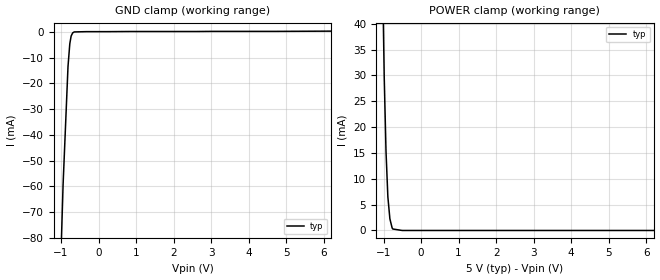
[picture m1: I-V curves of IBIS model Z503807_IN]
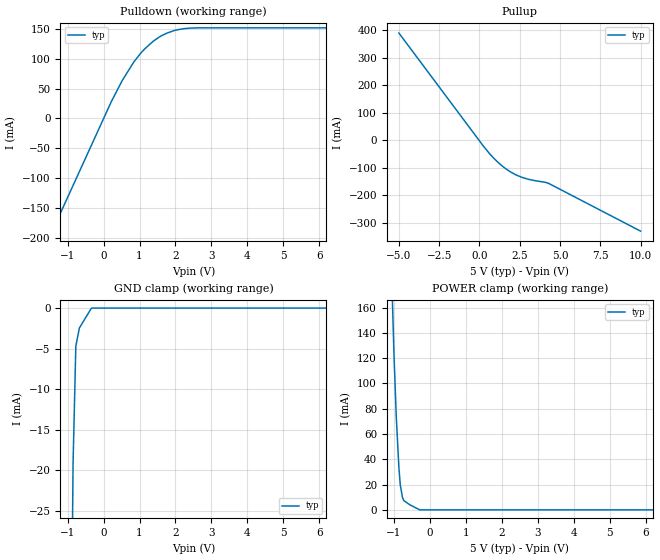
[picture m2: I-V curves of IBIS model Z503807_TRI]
| YOU ARE ONLY AUTHORIZED TO USE THIS SOFTWARE
| ACCORDING TO LICENSOR'S LICENSE RESTRICTIONS.
[IBIS Ver] 3.1
[File Name] mc74ac574n_5.ibs
[File Rev] 2.0
[Source] Measured and created by ICX Technology
[Date] Friday 7/14/00 9:08:00 AM
[Copyright]
| (C) COPYRIGHT 1993-2000
| MENTOR GRAPHICS CORPORATION
| ICX STANDARD LIBRARY, ICX PROJECT MODELING,
| ICX CUSTOM MODELING, ICX VENDOR MODEL
| ALL RIGHTS RESERVED.
| THE FOLLOWING ARE TRADEMARKS OR SERVICE MARKS OF
| MENTOR GRAPHICS CORPORATION:ICX (R), ICX STANDARD
| LIBRARY(R), ICX PROJECT MODELING(R), ICX CUSTOM
| MODELING(R), qualityIBIS(TM), MODELVIEWER(TM),
| AND MODELEDITOR(TM)
| ALL COPIES OF SOFTWARE, INCLUDING BUT NOT LIMITED TO
| ANY MODIFICATIONS, ENHANCEMENTS OR DERIVATIVE WORKS,
| MUST CONTAIN ALL MENTOR GRAPHICS CORPORATION'S
| NOTICES AND LEGENDS, INCLUDING THOSE EMBEDDED IN
| SOFTWARE AND THOSE AFFIXED TO SOFTWARE MEDIUM
| AND CONTAINER, AS RECEIVED FROM MENTOR GRAPHICS
| CORPORATION.
|  ZAP Model Builder 2.7
[Component] MC74AC574N_5
[Manufacturer] OnSemiconductor
[Package]
| variable   typ   min   max
R_pkg  .216ohms NA NA
L_pkg  5.76nH NA NA
C_pkg  1.29pF NA NA
[Pin] signal_name  model_name  R_pin  L_pin C_pin
1 _EN Z503807_IN .232 9.76n 1.87p
2 D0 Z503807_IN .224 7.26n 1.58p
3 D1 Z503807_IN .216 5.26n 1.29p
4 D2 Z503807_IN .208 3.76n 1.0p
5 D3 Z503807_IN .2 2.76n .71p
6 D4 Z503807_IN .2 2.76n .71p
7 D5 Z503807_IN .208 3.76n 1.0p
8 D6 Z503807_IN .216 5.26n 1.29p
9 D7 Z503807_IN .224 7.26n 1.58p
10 GND GND .232 9.76n 1.87p
11 CLK Z503807_IN .232 9.76n 1.87p
12 Q7 Z503807_TRI .224 7.26n 1.58p
13 Q6 Z503807_TRI .216 5.26n 1.29p
14 Q5 Z503807_TRI .208 3.76n 1.0p
15 Q4 Z503807_TRI .2 2.76n .71p
16 Q3 Z503807_TRI .2 2.76n .71p
17 Q2 Z503807_TRI .208 3.76n 1.0p
18 Q1 Z503807_TRI .216 5.26n 1.29p
19 Q0 Z503807_TRI .224 7.26n 1.58p
20 VCC POWER .232 9.76n 1.87p
| Models and submodels in the file (2): Z503807_IN (Input), Z503807_TRI (3-state)
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| (C) COPYRIGHT 1993-2000
| MENTOR GRAPHICS CORPORATION
| ICX STANDARD LIBRARY, ICX PROJECT MODELING,
| ICX CUSTOM MODELING, ICX VENDOR MODEL
| ALL RIGHTS RESERVED.
| THE FOLLOWING ARE TRADEMARKS OR SERVICE MARKS OF
| MENTOR GRAPHICS CORPORATION:ICX (R), ICX STANDARD
| LIBRARY(R), ICX PROJECT MODELING(R), ICX CUSTOM
| MODELING(R), qualityIBIS(TM), MODELVIEWER(TM),
| AND MODELEDITOR(TM)
| ALL COPIES OF SOFTWARE, INCLUDING BUT NOT LIMITED TO
| ANY MODIFICATIONS, ENHANCEMENTS OR DERIVATIVE WORKS,
| MUST CONTAIN ALL MENTOR GRAPHICS CORPORATION'S
| NOTICES AND LEGENDS, INCLUDING THOSE EMBEDDED IN
| SOFTWARE AND THOSE AFFIXED TO SOFTWARE MEDIUM
| AND CONTAINER, AS RECEIVED FROM MENTOR GRAPHICS
| CORPORATION.
| Model Application Version 1.89 2/18/99.
[Model] Z503807_IN
Model_type Input
Vinl = 1.500V
Vinh = 3.500V
C_comp 4.000pF NA NA
| variable typ   min   max
[Voltage Range] 5.000V NA NA
[GND Clamp Reference] 0.000V NA NA
[POWER Clamp Reference] 5.000V NA NA
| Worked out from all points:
|   GND clamp passes 1 mA (typ) near -0.71 V on its own axis
|   POWER clamp passes 1 mA (typ) near -0.79 V on its own axis
[GND Clamp]
-5V       -2.849A    NA         NA
-1.037V   -103.7mA   NA         NA
-945.4mV  -59.35mA   NA         NA
-814.4mV  -13.45mA   NA         NA
-766.3mV  -4.566mA   NA         NA
-730.9mV  -1.599mA   NA         NA
-687.2mV  -331.6uA   NA         NA
-648mV    10.82uA    NA         NA
10V       559.2uA    NA         NA
[POWER Clamp]
-5V       3.023A     NA         NA
-1.109V   97.43mA    NA         NA
-1.035V   53.89mA    NA         NA
-982mV    29.74mA    NA         NA
-934mV    15.31mA    NA         NA
-885mV    6.546mA    NA         NA
-831mV    2.263mA    NA         NA
-771mV    490.8uA    NA         NA
-752mV    283.6uA    NA         NA
-501.3mV  0A         NA         NA
10V       0A         NA         NA
| (C) COPYRIGHT 1993-2000
| MENTOR GRAPHICS CORPORATION
| ICX STANDARD LIBRARY, ICX PROJECT MODELING,
| ICX CUSTOM MODELING, ICX VENDOR MODEL
| ALL RIGHTS RESERVED.
| THE FOLLOWING ARE TRADEMARKS OR SERVICE MARKS OF
| MENTOR GRAPHICS CORPORATION:ICX (R), ICX STANDARD
| LIBRARY(R), ICX PROJECT MODELING(R), ICX CUSTOM
| MODELING(R), qualityIBIS(TM), MODELVIEWER(TM),
| AND MODELEDITOR(TM)
| ALL COPIES OF SOFTWARE, INCLUDING BUT NOT LIMITED TO
| ANY MODIFICATIONS, ENHANCEMENTS OR DERIVATIVE WORKS,
| MUST CONTAIN ALL MENTOR GRAPHICS CORPORATION'S
| NOTICES AND LEGENDS, INCLUDING THOSE EMBEDDED IN
| SOFTWARE AND THOSE AFFIXED TO SOFTWARE MEDIUM
| AND CONTAINER, AS RECEIVED FROM MENTOR GRAPHICS
| CORPORATION.
| Model Application Version 1.89 2/18/99.
[Model] Z503807_TRI
Model_type 3-state
Vref=0.000V
Rref=500.0ohms
Cref=50.00pF
Vmeas=2.500V
C_comp 8.000pF NA NA
| variable typ   min   max
[Voltage Range] 5.000V NA NA
[POWER Clamp Reference] 5.000V NA NA
[Pullup Reference] 5.000V NA NA
[Pulldown Reference] 0.000V NA NA
[GND Clamp Reference] 0.000V NA NA
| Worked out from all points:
|   slope of the pulldown table from 0 to 0.75 V, typ, clamps not added: 8.75 ohm
|   slope of the pullup table from 0 to 0.75 V, typ, clamps not added: 13.8 ohm
[GND Clamp]
-5V       -1.479A    NA         NA
-1.05V    -116.2mA   NA         NA
-848.9mV  -19.16mA   NA         NA
-771.8mV  -4.689mA   NA         NA
-672.7mV  -2.453mA   NA         NA
-336.3mV  0A         NA         NA
10V       0A         NA         NA
[Pulldown]
-5V       -657.3mA   NA         NA
216.6mV   28.28mA    NA         NA
519.6mV   63.36mA    NA         NA
840.6mV   94.19mA    NA         NA
1.026V    108.4mA    NA         NA
1.384V    129.1mA    NA         NA
1.768V    142.6mA    NA         NA
2.084V    148.4mA    NA         NA
2.598V    151.3mA    NA         NA
10V       151.3mA    NA         NA
[Pullup]
-5V       389.2mA    NA         NA
239mV     -21.13mA   NA         NA
909mV     -66.77mA   NA         NA
1.417V    -94.23mA   NA         NA
1.934V    -115.5mA   NA         NA
2.632V    -134.9mA   NA         NA
4.268V    -156.2mA   NA         NA
10V       -330.5mA   NA         NA
[POWER Clamp]
-5V       4.064A     NA         NA
-1V       122.8mA    NA         NA
-937mV    74.12mA    NA         NA
-864mV    33.68mA    NA         NA
-825mV    19.71mA    NA         NA
-762mV    9.654mA    NA         NA
-728mV    7.367mA    NA         NA
-567mV    4.138mA    NA         NA
-283.5mV  0A         NA         NA
10V       0A         NA         NA
[Ramp]
| variable typ min max
dV/dt_r 2.942/595.4p NA NA
dV/dt_f 2.942/840.5p NA NA
R_load = 500.0Ohms
